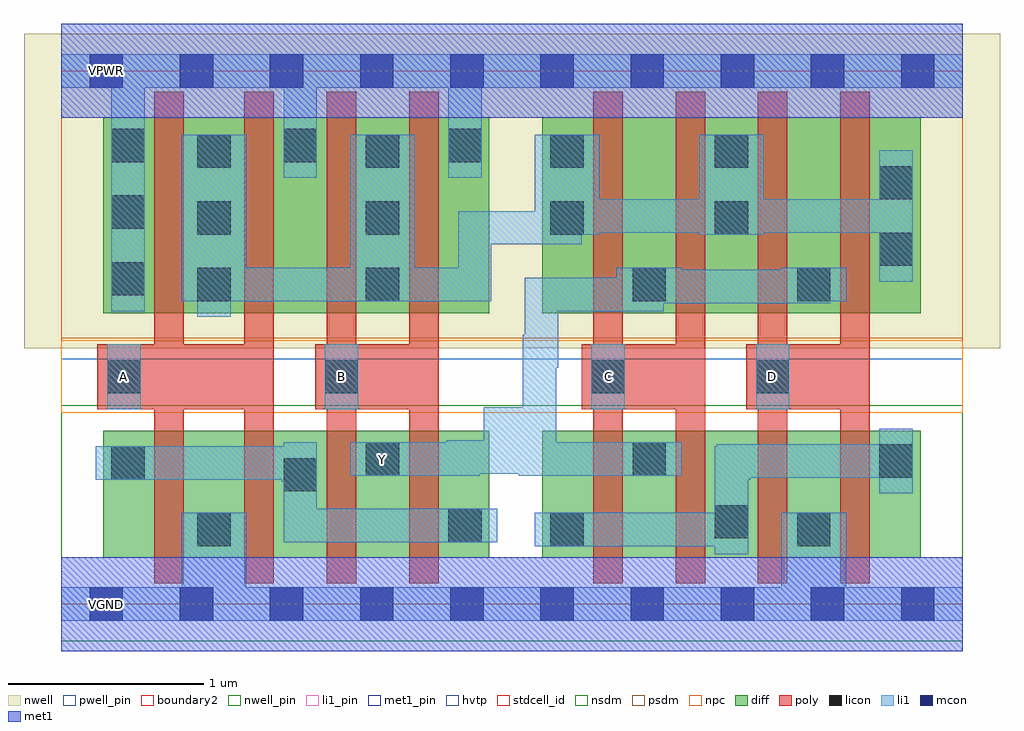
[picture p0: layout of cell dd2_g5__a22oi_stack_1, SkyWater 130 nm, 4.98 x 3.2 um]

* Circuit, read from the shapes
.subckt dd2_g5__a22oi_stack_1 A B C D VGND VNB VPB VPWR Y
XM1 VGND A n1 VNB sky130_fd_pr__nfet_01v8 w=0.65 l=0.15 m=2
XM2 Y B n1 VNB sky130_fd_pr__nfet_01v8 w=0.65 l=0.15 m=2
XM3 Y C n2 VNB sky130_fd_pr__nfet_01v8 w=0.65 l=0.15 m=2
XM4 VGND D n2 VNB sky130_fd_pr__nfet_01v8 w=0.65 l=0.15 m=2
XM5 n3 A VPWR VPB sky130_fd_pr__pfet_01v8_hvt w=1 l=0.15 m=2
XM6 n3 B VPWR VPB sky130_fd_pr__pfet_01v8_hvt w=1 l=0.15 m=2
XM7 Y C n3 VPB sky130_fd_pr__pfet_01v8_hvt w=1 l=0.15 m=2
XM8 Y D n3 VPB sky130_fd_pr__pfet_01v8_hvt w=1 l=0.15 m=2
.ends

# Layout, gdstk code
import gdstk
lib = gdstk.Library(unit=1e-6, precision=1e-09)
def R(c, l, rs):  # rectangles x0, y0, x1, y1
    for r in rs: c.add(gdstk.rectangle(r[:2], r[2:], *l))
def A(c, l, x, y, w, h, nx, ny, dx, dy):  # array of equal rectangles
    R(c, l, [(x+i*dx, y+j*dy, x+i*dx+w, y+j*dy+h) for i in range(nx) for j in range(ny)])
nwell_pin = (64, 16)
nwell = (64, 20)
diff = (65, 20)
poly = (66, 20)
licon = (66, 44)
li1_pin = (67, 16)
li1 = (67, 20)
mcon = (67, 44)
met1_pin = (68, 16)
met1 = (68, 20)
hvtp = (78, 44)
stdcell_id = (81, 4)
nsdm = (93, 44)
psdm = (94, 20)
npc = (95, 20)
pwell_pin = (122, 16)
boundary2 = (236, 0)

dd2_g5__a22oi_stack_1 = lib.new_cell('dd2_g5__a22oi_stack_1')
R(dd2_g5__a22oi_stack_1, nwell_pin, [(0.145,2.635,0.315,2.805)])
R(dd2_g5__a22oi_stack_1, nwell, [(-0.19,1.305,4.79,2.91)])
R(dd2_g5__a22oi_stack_1, diff, [(0.215,0.235,1.01,0.885), (0.55,0.235,1.43,0.885), (1.01,0.235,1.85,0.885), (1.43,0.235,2.185,0.885), (2.455,0.235,3.21,0.885), (2.79,0.235,3.63,0.885), (3.21,0.235,4.05,0.885), (3.63,0.235,4.385,0.885), (0.215,1.485,1.01,2.485), (0.55,1.485,1.43,2.485), (1.01,1.485,1.85,2.485), (1.43,1.485,2.185,2.485), (2.455,1.485,3.21,2.485), (2.79,1.485,3.63,2.485), (3.21,1.485,4.05,2.485), (3.63,1.485,4.385,2.485)])
A(dd2_g5__a22oi_stack_1, poly, 0.935, 0.105, 0.15, 2.51, 3, 1, 0.42, 0)
A(dd2_g5__a22oi_stack_1, poly, 2.715, 0.105, 0.15, 2.51, 4, 1, 0.42, 0)
R(dd2_g5__a22oi_stack_1, poly, [(0.475,0.105,0.625,2.615), (0.185,0.995,0.625,1.325), (0.475,0.995,1.085,1.325), (1.295,0.995,1.565,1.325), (1.355,0.995,1.925,1.325), (2.655,0.995,2.925,1.325), (2.715,0.995,3.285,1.325), (3.495,0.995,3.765,1.325), (3.555,0.995,4.125,1.325)])
A(dd2_g5__a22oi_stack_1, licon, 0.695, 1.545, 0.17, 0.17, 1, 3, 0, 0.34)
A(dd2_g5__a22oi_stack_1, licon, 1.555, 1.545, 0.17, 0.17, 1, 3, 0, 0.34)
A(dd2_g5__a22oi_stack_1, licon, 0.255, 1.575, 0.17, 0.17, 1, 3, 0, 0.34)
R(dd2_g5__a22oi_stack_1, licon, [(0.695,0.295,0.865,0.465), (2.495,0.295,2.665,0.465), (3.755,0.295,3.925,0.465), (1.975,0.315,2.145,0.485), (3.335,0.335,3.505,0.505), (1.135,0.575,1.305,0.745), (0.255,0.635,0.425,0.805), (4.175,0.645,4.345,0.815), (1.555,0.655,1.725,0.825), (2.915,0.655,3.085,0.825), (0.235,1.075,0.405,1.245), (1.345,1.075,1.515,1.245), (2.705,1.075,2.875,1.245), (3.545,1.075,3.715,1.245), (2.915,1.545,3.085,1.715), (3.755,1.545,3.925,1.715), (4.175,1.725,4.345,1.895), (2.495,1.885,2.665,2.055), (3.335,1.885,3.505,2.055), (4.175,2.065,4.345,2.235), (2.495,2.225,2.665,2.395), (3.335,2.225,3.505,2.395), (1.135,2.255,1.305,2.425), (1.975,2.255,2.145,2.425)])
R(dd2_g5__a22oi_stack_1, li1_pin, [(0.145,-0.085,0.315,0.085), (1.565,0.665,1.715,0.815), (0.245,1.085,0.395,1.235), (1.355,1.085,1.505,1.235), (2.715,1.085,2.865,1.235), (3.555,1.085,3.705,1.235), (0.145,2.635,0.315,2.805)])
R(dd2_g5__a22oi_stack_1, li1, [(0,-0.085,4.6,0.085), (0.615,0.085,0.945,0.465), (3.675,0.085,4.005,0.465), (3.335,0.255,3.505,0.295), (2.415,0.295,3.505,0.465), (1.135,0.315,2.225,0.485), (3.335,0.465,3.505,0.635), (1.135,0.485,1.305,0.625), (4.175,0.565,4.345,0.645), (1.125,0.625,1.305,0.635), (0.175,0.635,1.305,0.805), (3.335,0.635,3.515,0.645), (3.335,0.645,4.345,0.805), (1.475,0.655,2.135,0.665), (2.335,0.655,3.165,0.665), (1.475,0.665,3.165,0.825), (1.135,0.805,1.305,0.825), (3.345,0.805,4.345,0.815), (4.175,0.815,4.345,0.895), (1.965,0.825,2.525,0.835), (2.155,0.835,2.525,1.005), (0.235,0.995,0.405,1.325), (1.345,0.995,1.515,1.325), (2.705,0.995,2.875,1.325), (3.545,0.995,3.715,1.325), (2.355,1.005,2.525,1.205), (2.355,1.205,2.535,1.375), (2.365,1.375,2.535,1.495), (0.695,1.465,0.865,1.545), (0.255,1.495,0.425,2.635), (2.365,1.495,3.075,1.535), (2.365,1.535,3.925,1.545), (0.615,1.545,2.195,1.715), (2.365,1.545,4.005,1.665), (4.175,1.645,4.345,1.895), (2.835,1.665,4.005,1.705), (2.835,1.705,3.165,1.715), (3.675,1.705,4.005,1.715), (0.615,1.715,0.945,2.395), (1.475,1.715,1.805,2.395), (2.025,1.715,2.195,1.835), (2.025,1.835,2.655,1.885), (2.025,1.885,2.745,1.895), (3.255,1.885,3.585,1.895), (2.025,1.895,4.345,2.005), (2.415,2.005,4.345,2.065), (2.415,2.065,2.745,2.395), (3.255,2.065,3.585,2.395), (4.175,2.065,4.345,2.315), (1.135,2.175,1.305,2.635), (1.975,2.175,2.145,2.635), (0,2.635,4.6,2.805)])
A(dd2_g5__a22oi_stack_1, mcon, 0.145, -0.085, 0.17, 0.17, 10, 2, 0.46, 2.72)
R(dd2_g5__a22oi_stack_1, met1_pin, [(0.145,-0.085,0.315,0.085), (0.145,2.635,0.315,2.805)])
R(dd2_g5__a22oi_stack_1, met1, [(0,-0.24,4.6,0.24), (0,2.48,4.6,2.96)])
R(dd2_g5__a22oi_stack_1, hvtp, [(0,1.25,4.6,2.72)])
R(dd2_g5__a22oi_stack_1, stdcell_id, [(0,0,4.6,2.72)])
R(dd2_g5__a22oi_stack_1, nsdm, [(0,-0.19,4.6,1.015)])
R(dd2_g5__a22oi_stack_1, psdm, [(0,1.355,4.6,2.91)])
R(dd2_g5__a22oi_stack_1, npc, [(0,0.975,4.6,1.345)])
R(dd2_g5__a22oi_stack_1, pwell_pin, [(0.145,-0.085,0.315,0.085)])
R(dd2_g5__a22oi_stack_1, boundary2, [(0,0,4.6,2.72)])
dd2_g5__a22oi_stack_1.add(gdstk.Label('VPWR', (0.23,2.72), layer=68, texttype=5))
dd2_g5__a22oi_stack_1.add(gdstk.Label('VGND', (0.23,0), layer=68, texttype=5))
dd2_g5__a22oi_stack_1.add(gdstk.Label('VPWR', (0.23,2.72), layer=67, texttype=5))
dd2_g5__a22oi_stack_1.add(gdstk.Label('VGND', (0.23,0), layer=67, texttype=5))
dd2_g5__a22oi_stack_1.add(gdstk.Label('A', (0.32,1.16), layer=67, texttype=5))
dd2_g5__a22oi_stack_1.add(gdstk.Label('B', (1.43,1.16), layer=67, texttype=5))
dd2_g5__a22oi_stack_1.add(gdstk.Label('C', (2.79,1.16), layer=67, texttype=5))
dd2_g5__a22oi_stack_1.add(gdstk.Label('D', (3.63,1.16), layer=67, texttype=5))
dd2_g5__a22oi_stack_1.add(gdstk.Label('Y', (1.64,0.74), layer=67, texttype=5))
dd2_g5__a22oi_stack_1.add(gdstk.Label('VPB', (0.23,2.72), layer=64, texttype=5))
dd2_g5__a22oi_stack_1.add(gdstk.Label('VNB', (0.23,0), layer=64, texttype=59))

lib.write_gds('dd2_g5__a22oi_stack_1.gds')
